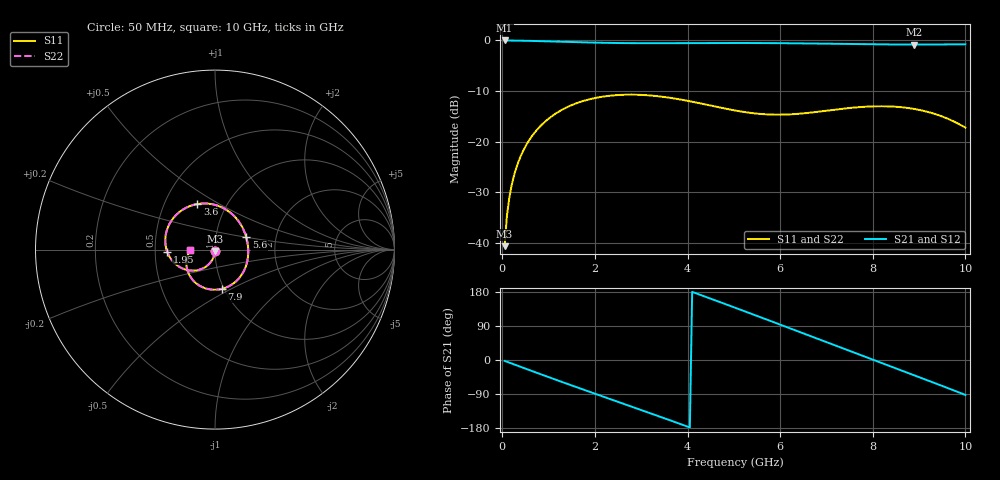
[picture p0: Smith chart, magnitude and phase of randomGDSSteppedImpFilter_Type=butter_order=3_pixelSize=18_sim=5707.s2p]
! freq	dB(S11)	phase(S11)	dB(S12)	phase(S12)
!  dB(S21)	phase(S21)	dB(S22)	phase(S22)
!S-par simulation data
#  GHz  S  DB  R 50
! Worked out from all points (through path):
!   200 points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, 50 MHz to 10 GHz, reference 50 ohm
!   highest |S21| = 0.00 dB at 50 MHz (marker M1); lowest = -0.8 dB at 8.9 GHz (marker M2)
!   group delay of S21, straight-line fit = 125 ps
!   lowest |S11| = -40.6 dB at 50 MHz (marker M3), VSWR 1.02, Z = 50 - j0.927 ohm
!   |S11| at or under -10 dB: start of sweep to end of sweep
!   |S22| runs from -40.6 to -10.7 dB; largest |S21 - S12| = 0
!   S11 on the Smith chart (normalised r, x): 50 MHz: 1.00, -0.02; 1.95 GHz: 0.58, -0.01; 3.6 GHz: 0.73, +0.40; 5.6 GHz: 1.40, +0.21; 7.9 GHz: 0.97, -0.45; 10 GHz: 0.76, -0.00
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0.05  -40.65 -92.2  -0.00 -2.3  -0.00 -2.3  -40.65 -92.2
0.1  -34.65 -94.5  -0.01 -4.6  -0.01 -4.6  -34.65 -94.5
0.2  -28.69 -99.2  -0.02 -9.2  -0.02 -9.2  -28.69 -99.2
0.35  -23.93 -106.3  -0.04 -16.0  -0.04 -16.0  -23.93 -106.3
0.5  -20.94 -113.3  -0.06 -22.8  -0.06 -22.8  -20.94 -113.3
1.15  -14.47 -142.6  -0.22 -51.8  -0.22 -51.8  -14.47 -142.6
1.75  -11.96 -168.9  -0.38 -78.1  -0.38 -78.1  -11.96 -168.9
1.95  -11.48 -177.5  -0.42 -86.7  -0.42 -86.7  -11.48 -177.6
2.65  -10.72 152.3  -0.53 -116.8  -0.53 -116.8  -10.72 152.2
3.4  -11.06 119.9  -0.55 -149.3  -0.55 -149.3  -11.06 119.7
3.6  -11.30 111.1  -0.54 -158.1  -0.54 -158.1  -11.30 111.0
4.3  -12.48 80.2  -0.51 170.9  -0.51 170.9  -12.48 80.0
5.05  -13.88 46.7  -0.50 137.0  -0.50 137.0  -13.88 46.5
5.6  -14.54 22.1  -0.52 111.8  -0.52 111.8  -14.54 22.0
6.15  -14.63 -2.3  -0.55 86.5  -0.55 86.5  -14.63 -2.4
6.7  -14.22 -26.8  -0.61 61.1  -0.61 61.1  -14.22 -26.8
7.35  -13.49 -55.9  -0.69 31.0  -0.69 31.0  -13.49 -55.8
7.9  -13.06 -80.5  -0.75 5.7  -0.75 5.7  -13.06 -80.3
8.35  -13.03 -100.8  -0.80 -15.1  -0.80 -15.1  -13.03 -100.5
8.9  -13.54 -125.9  -0.82 -40.5  -0.82 -40.5  -13.54 -125.5
9.5  -15.03 -154.2  -0.79 -68.5  -0.79 -68.5  -15.03 -153.7
10  -17.22 -179.3  -0.76 -92.2  -0.76 -92.2  -17.22 -178.7
